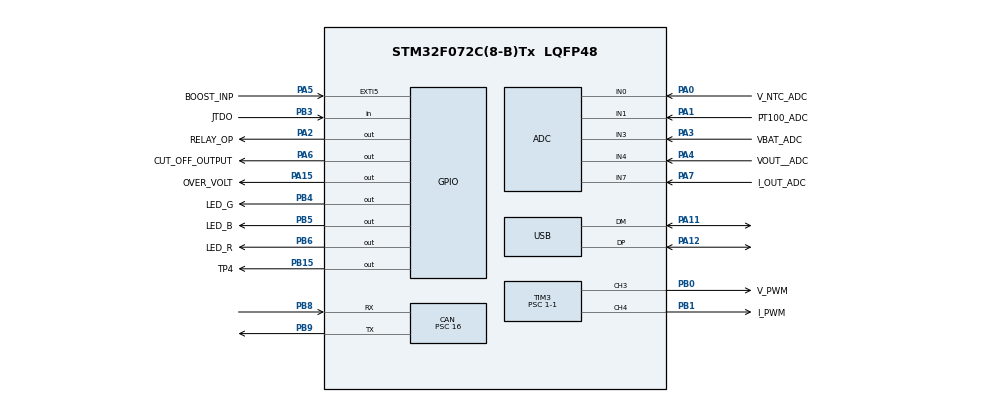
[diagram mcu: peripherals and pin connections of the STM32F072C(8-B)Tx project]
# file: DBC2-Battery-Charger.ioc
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ADC.ContinuousConvMode=ENABLE
ADC.DMAContinuousRequests=ENABLE
ADC.EOCSelection=ADC_EOC_SEQ_CONV
ADC.Overrun=ADC_OVR_DATA_OVERWRITTEN
ADC.SamplingTime=ADC_SAMPLETIME_71CYCLES_5
CAN.BS1=CAN_BS1_3TQ
CAN.BS2=CAN_BS2_4TQ
CAN.CalculateBaudRate=375000
CAN.CalculateTimeBit=2666
CAN.CalculateTimeQuantum=333.3333333333333
CAN.Prescaler=16
Dma.ADC.0.Direction=DMA_PERIPH_TO_MEMORY
Dma.ADC.0.Instance=DMA1_Channel1
Dma.ADC.0.MemDataAlignment=DMA_MDATAALIGN_HALFWORD
Dma.ADC.0.MemInc=DMA_MINC_ENABLE
Dma.ADC.0.Mode=DMA_CIRCULAR
Dma.ADC.0.PeriphDataAlignment=DMA_PDATAALIGN_HALFWORD
Dma.ADC.0.PeriphInc=DMA_PINC_DISABLE
Dma.ADC.0.Priority=DMA_PRIORITY_MEDIUM
Dma.Request0=ADC
Mcu.Family=STM32F0
Mcu.Name=STM32F072C(8-B)Tx
Mcu.Package=LQFP48
NVIC.CEC_CAN_IRQn=true\:0\:0\:false\:false\:true\:true\:true\:true
NVIC.DMA1_Channel1_IRQn=true\:2\:0\:true\:false\:true\:false\:true\:true
NVIC.EXTI4_15_IRQn=true\:1\:0\:true\:false\:true\:true\:true\:true
NVIC.TIM14_IRQn=true\:1\:0\:true\:false\:true\:true\:true\:true
NVIC.USB_IRQn=true\:0\:0\:true\:false\:true\:false\:true\:true
PA0.GPIO_Label=V_NTC_ADC
PA0.Mode=IN0
PA0.Signal=ADC_IN0
PA1.GPIO_Label=PT100_ADC
PA1.Mode=IN1
PA1.Signal=ADC_IN1
PA11.Mode=Device
PA11.Signal=USB_DM
PA12.Mode=Device
PA12.Signal=USB_DP
PA13.Mode=Serial_Wire
PA13.Signal=SYS_SWDIO
PA14.Mode=Serial_Wire
PA14.Signal=SYS_SWCLK
PA15.GPIO_Label=OVER_VOLT
PA15.Signal=GPIO_Output
PA2.GPIO_Label=RELAY_OP
PA2.Signal=GPIO_Output
PA3.GPIO_Label=VBAT_ADC
PA3.Mode=IN3
PA3.Signal=ADC_IN3
PA4.GPIO_Label=VOUT__ADC
PA4.Mode=IN4
PA4.Signal=ADC_IN4
PA5.GPIO_Label=BOOST_INP
PA5.Signal=GPXTI5
PA6.GPIO_Label=CUT_OFF_OUTPUT
PA6.Signal=GPIO_Output
PA7.GPIO_Label=I_OUT_ADC
PA7.Mode=IN7
PA7.Signal=ADC_IN7
PB0.GPIO_Label=V_PWM
PB0.Signal=S_TIM3_CH3
PB1.GPIO_Label=I_PWM
PB1.Signal=S_TIM3_CH4
PB15.GPIO_Label=TP4
PB15.Signal=GPIO_Output
PB3.GPIO_Label=JTDO
PB3.Signal=GPIO_Input
PB4.GPIO_Label=LED_G
PB4.Signal=GPIO_Output
PB5.GPIO_Label=LED_B
PB5.Signal=GPIO_Output
PB6.GPIO_Label=LED_R
PB6.Signal=GPIO_Output
PB8.Mode=CAN_Activate
PB8.Signal=CAN_RX
PB9.Mode=CAN_Activate
PB9.Signal=CAN_TX
ProjectManager.HeapSize=0x200
ProjectManager.StackSize=0x400
ProjectManager.TargetToolchain=STM32CubeIDE
RCC.AHBFreq_Value=48000000
RCC.APB1Freq_Value=48000000
RCC.APB1TimFreq_Value=48000000
RCC.HCLKFreq_Value=48000000
RCC.SYSCLKFreq_VALUE=48000000
RCC.SYSCLKSource=RCC_SYSCLKSOURCE_HSI48
SH.S_TIM3_CH3.0=TIM3_CH3,PWM Generation3 CH3
SH.S_TIM3_CH4.0=TIM3_CH4,PWM Generation4 CH4
TIM1.Period=0
TIM14.AutoReloadPreload=TIM_AUTORELOAD_PRELOAD_DISABLE
TIM14.Period=1000
TIM2.Period=0
TIM3.Channel-PWM\ Generation3\ CH3=TIM_CHANNEL_3
TIM3.Channel-PWM\ Generation4\ CH4=TIM_CHANNEL_4
TIM3.Period=1-1
TIM3.Prescaler=1-1
USB_DEVICE.CLASS_NAME_FS=CDC
USB_DEVICE.MANUFACTURER_STRING=EN-KO Control Systems
USB_DEVICE.VirtualMode=Cdc
USB_DEVICE.VirtualModeFS=Cdc_FS
VP_ADC_TempSens_Input.Mode=IN-TempSens
VP_IWDG_VS_IWDG.Mode=IWDG_Activate
VP_TIM14_VS_ClockSourceINT.Mode=Enable_Timer
VP_TIM1_VS_ClockSourceINT.Mode=Internal
VP_TIM2_VS_ClockSourceINT.Mode=Internal
VP_USB_DEVICE_VS_USB_DEVICE_CDC_FS.Mode=CDC_FS
board=custom

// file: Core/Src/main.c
/* USER CODE BEGIN Header */
/**
  ******************************************************************************
  * @file           : main.c
  * @brief          : Main program body
  ******************************************************************************
  * @attention
  * DBC2 Battery Charger Project Developed by ENKO Control Systems
  ******************************************************************************
  */
/* USER CODE END Header */
#include "main.h"
#include "adc.h"
#include "can.h"
#include "dma.h"
#include "iwdg.h"
#include "tim.h"
#include "usb_device.h"
#include "gpio.h"

/* USER CODE BEGIN Includes */
#include "usbd_cdc_if.h"
#include "Controller.h"
#include "stm32f0xx_hal.h"

#include "ModbusServerSerial/msserial.h"
#include "ModbusClientSerial/mcserial.h"
#include "ModbusPDU/modbus_pdu.h"
#include "modbus_adapter_dma.h"
#include "modbus_adapter_usb.h"
#include "modbus_adapter_pdu.h"
#include "parameters_setget.h"
#include "parameter_callback.h"
#include "dynamic_pass_adapter.h"
/* USER CODE END Includes */

/* USER CODE BEGIN PD */
//bootloader defines
#define USER_PROG_BASLANGIC_ADR 0x08004800
#define SYSCFG_MemoryRemap_SRAM ((uint8_t)0x03)
//#define  RCC_APB2ENR_SYSCFGEN   ((uint32_t)0x00000001)        /*!< SYSCFG clock enable */
#define RCC_APB2Periph_SYSCFG   RCC_APB2ENR_SYSCFGEN
//DMA conv complete buffer size
#define DMA_BUFFER_SIZE         6
/* USER CODE END PD */

/* USER CODE BEGIN PV */

__attribute__((section(".SIGNATURESECTION.SGN"))) volatile const uint8_t signature[4] ={'E','N','K','O'};
__attribute__((section(".My_Vector_Table_Section.table")))  uint32_t VectorTable[50];
//volatile uint32_t *VectorTable = (uint32_t *)0x20000000; // Carve space here via linker script, or attributes

MEASURED_t MEASURED;
extern int16_t data[PARAM_MAX_COUNT];

volatile int64_t tick = 0, tempTick = 0;

ModbusServerSerial_t MbServerUsbObj;
ModbusPDU_t MbServerUsbObj_PDU;

uint32_t ledToggleCount = 0, ledOffset = 0, ledOffset_2 = 0;

uint8_t  boostLock = 0, pt100Flag = 0;
GPIO_PinState boostPinState = GPIO_PIN_SET;
uint32_t boostPinCounter = 0;

int16_t INTC_CAL1 = 0, INTC_CAL2  = 0;
int16_t PT100Comp = 0;
int16_t CalibINTC = 0;

volatile uint16_t ADC_Buffer[6] = {0, 0, 0, 0, 0, 0};
volatile uint16_t DMA_Buffer[DMA_BUFFER_SIZE];

extern ControllerParam_t outputReferences;

ALG_STATES mode = S_PSU;

uint8_t tagCount = 0;

extern USBD_HandleTypeDef hUsbDeviceFS;
/* USER CODE END PV */

void SystemClock_Config(void);
/* USER CODE BEGIN PFP */

void sysTickCallback(void);
HAL_StatusTypeDef Flash_writeReferencesToFlash(void);
HAL_StatusTypeDef Flash_readReferencesFromFlash(void);
void setDeviceParams(void);
/* USER CODE END PFP */

int main(void)
{
  /* USER CODE BEGIN 1 */
	// Vektor tablosu tasıma
  for(uint8_t i = 0; i < 48; i++){
		VectorTable[i] = *(__IO uint32_t*)(USER_PROG_BASLANGIC_ADR + (i<<2));
	}
	// Enable the SYSCFG peripheral clock//
	RCC_APB2PeriphResetCmd(RCC_APB2Periph_SYSCFG, ENABLE);
	// Remap SRAM at 0x00000000 //
	SYSCFG_MemoryRemapConfig(SYSCFG_MemoryRemap_SRAM);
	if(signature[0]==1)  // optimize etmemesi için eklendi.
	__NOP();
  /* USER CODE END 1 */

  /* MCU Configuration--------------------------------------------------------*/

  /* Reset of all peripherals, Initializes the Flash interface and the Systick. */
  HAL_Init();

  /* Configure the system clock */
  SystemClock_Config();

  /* Initialize all configured peripherals */
  MX_GPIO_Init();
  MX_DMA_Init();
  MX_ADC_Init();
  MX_USB_DEVICE_Init();
  MX_TIM14_Init();
  MX_CAN_Init();
//  MX_TIM1_Init();
//  MX_TIM2_Init();
  MX_TIM3_Init();
  MX_IWDG_Init();
  /* USER CODE BEGIN 2 */
//  HAL_GPIO_WritePin(CUT_OFF_OUTPUT_GPIO_Port, CUT_OFF_OUTPUT_Pin, GPIO_PIN_RESET);
//  HAL_GPIO_WritePin(LED_R_GPIO_Port,LED_R_Pin, GPIO_PIN_RESET);
//  while(1);

  #ifdef DBC_2_150W
  MX_TIM3_Init();
  #endif
#ifdef DBC_2_150W_2
MX_TIM3_Init();
#endif
  #ifdef DBC_2_300W
  MX_TIM1_Init();
  MX_TIM2_Init();
  #endif

  #ifndef DEBUG_MODE_OPTIONS
  FLASH_OBProgramInitTypeDef OBInit;
  // Get current status of the OB
  HAL_FLASHEx_OBGetConfig(&OBInit);
  //If it is not LEVEL 1 protected, set it. Else just ignore.
  if(OBInit.RDPLevel != OB_RDP_LEVEL_1){
    //Unlock OB
    HAL_FLASH_Unlock();
    HAL_FLASH_OB_Unlock();
    // Set Protection Level 1. This Level means no read operation but OB can be change in exchange of mass erase.
    // LEVEL 2 means no change on OB
    OBInit.OptionType = OPTIONBYTE_RDP;
    OBInit.RDPLevel = OB_RDP_LEVEL_1;
    // Change OB
    HAL_FLASHEx_OBProgram(&OBInit);
    // Launch means restart MCU
    HAL_FLASH_OB_Launch();
  }
  //Lock OB
  HAL_FLASH_OB_Lock();
  HAL_FLASH_Lock();
  #endif
	//Start ADC and DMA peripherals
	HAL_ADCEx_Calibration_Start(&hadc);
	HAL_ADC_Start_DMA(&hadc, (uint32_t*)DMA_Buffer, DMA_BUFFER_SIZE);

  	// USB uzerinden MultiWrite fonksiyonu maksimum 27register icin gerceklesebilir.
	// USB Composite kurulumu yapilmaktadir. USB-CDC ve USB-MSC
	ModbusAdapterUsbInit();
	modbusServerSerialSoftInit(&MbServerUsbObj, &MbServerUsbObj_PDU);
	modbusServerSerialLLInit(&MbServerUsbObj, ModbusAdapterTransmitterUsb,
			ModbusAdapterReceiverUsb, ModbusAdapterReceiverStopUsb, isModbusAdapterTransmitUSBDone);
	ModbusPDUInit(&MbServerUsbObj_PDU, ModbusPDUAdapterWrite, ModbusPDUAdapterRead, ModbusPDUAdressCheck);
	setModbusServerSerialSlaveAddress(&MbServerUsbObj, 1);
	setModbusServerSerialControlInterval(&MbServerUsbObj, 1 * 2);
	setModbusServerSerialWait(&MbServerUsbObj, 10);

	//Init dynamic password
	setDynamicPasswordSetup(getDynamicPasswordObj());

	//load default parameters from ROM. Used till Flash read
	for(uint16_t i = 1; i < PARAM_MAX_COUNT; i++){
		data[i - 1] = getParamDefViaPN(i);
	}
	//Read from Flash and decide to use fixed PWM or controller
//	Flash_writeReferencesToFlash();
    Flash_readReferencesFromFlash();
    outputReferences.REFCurrent = getParamDataViaPN(OUTPUT_CURRENT);
	if(getParamDataViaPN(PWMFLAG) == 0){
	  setCurrentPWMtoRef(&outputReferences);
	  setVoltagePWMtoRef(&outputReferences);
	}else if(getParamDataViaPN(PWMFLAG) == 1){
	Voltage_PWM = getParamDataViaPN(VOUTPWM);
    updateVPWMLimits();
	Current_PWM = getParamDataViaPN(IOUTPWM);
    updateIPWMLimits();
	}

	setParamDataViaPN(DEVICE_SOFTWARE_VER, 1090, CALLBACK_OFF);

  // Set ENKO Constant MB params for this device
  setDeviceParams();
#ifdef DBC_2_90W
  //Start TIM3 and PWM outputs according to references above
  TIM3->ARR  = 959;
  TIM3->PSC  = 0;
  HAL_TIM_PWM_Start(&htim3, I_PWM_CH); //I_PWM
  HAL_TIM_PWM_Start(&htim3, V_PWM_CH); //V_PWM
#endif
#ifdef DBC_2_150W
	//Start TIM3 and PWM outputs according to references above
	TIM3->ARR  = 959;
	TIM3->PSC  = 0;
	HAL_TIM_PWM_Start(&htim3, I_PWM_CH); //I_PWM
	HAL_TIM_PWM_Start(&htim3, V_PWM_CH); //V_PWM
#endif
#ifdef DBC_2_150W_2
  //Start TIM3 and PWM outputs according to references above
  TIM3->ARR  = 959;
  TIM3->PSC  = 0;
  HAL_TIM_PWM_Start(&htim3, I_PWM_CH); //I_PWM
  HAL_TIM_PWM_Start(&htim3, V_PWM_CH); //V_PWM
#endif
#ifdef DBC_2_300W
	TIM2->ARR  = 959;
	TIM2->PSC  = 0;
	HAL_TIM_PWM_Start(&htim2, I_PWM_CH); //I_PWM
	HAL_TIM_PWM_Start(&htim2, V_PWM_CH); //V_PWM
	HAL_TIM_PWM_Stop(&htim1, TIM_CHANNEL_3);
#endif

	//Start TIM14 interrupt to control LEDs
	TIM14->ARR = 59999;
	TIM14->PSC = 7;
	HAL_TIM_Base_Start_IT(&htim14);

	//ADC Calibration for internal NTC Temp
	INTC_CAL1 = *(int16_t*)0x1FFFF7B8;
	INTC_CAL2 = *(int16_t*)0x1FFFF7C2;
	//When I used int16_t instead of float for CalibINTC, flash size usage shrink 2KB!
	//https://www.st.com/resource/en/application_note/cd00211314-how-to-get-the-best-adc-accuracy-in-stm32-microcontrollers-stmicroelectronics.pdf
	CalibINTC = ((110.0 - 30.0) / (INTC_CAL2 - INTC_CAL1)) * 1024;

	//Toggle the LEDs to initial state
	setLedColor(Black, LED_CONS);
	setLedColor(Red, LED_CONS);
	controlLEDbyParam(GPIO_PIN_RESET);
	HAL_Delay(500);
	setLedColor(Blue, LED_CONS);
	controlLEDbyParam(GPIO_PIN_RESET);
	HAL_Delay(500);
	setLedColor(Green, LED_CONS);
	controlLEDbyParam(GPIO_PIN_RESET);
	HAL_Delay(500);

	//Init the flag variables
	outputReferences.settedREFVoltage = outputReferences.nonParallelREFVoltage = getParamDataViaPN(OUTPUT_VOLTAGE);
	boostPinState = HAL_GPIO_ReadPin(BOOST_INP_GPIO_Port, BOOST_INP_Pin);
    *getParamDataAdr(PARALLEL_CURRENT_COEFF) = getParamDefViaPN(PARALLEL_CURRENT_COEFF);//parallelCurrentCoefficient = 3;
    setParamDataViaPN(ERR_FLAG, 0, CALLBACK_OFF);
    setParamDataViaPN(WARN_FLAG, 0, CALLBACK_OFF);
  /* USER CODE END 2 */

  /* Infinite loop */
  /* USER CODE BEGIN WHILE */
    //Algorithm starts

    //Check device type and set for analog
    //if(MAX_VOLTAGE <= 1600)HAL_GPIO_WritePin(OVER_VOLT_GPIO_Port, OVER_VOLT_Pin, GPIO_PIN_SET);
    setParamDataViaPN(OUTPUT_MODEL, 0000, CALLBACK_ON);

    //check for open connections on ADC
    if(isADCOpen(MEASURED) == STAT_TRUE){
    	errorHandler(ADCOpen);
    }else{
    	errorHandler(ADCOpen_false);
    }

    //Open the output MOSFET
	setParamDataViaPN(OUTPUT_CUT_OFF, CONDUCTING, CALLBACK_ON);
uint64_t mbPrevTick = 0;
	while (1)
	{
		//if this loop becomes faster than 1ms, tick related things will be stuck because it can't be incremented before new loop starts
    /* USER CODE END WHILE */

    /* USER CODE BEGIN 3 */
	  //* Reload IWDG to not cause reset of the MCU
    #ifndef DEBUG_MODE_OPTIONS
	  __HAL_IWDG_RELOAD_COUNTER(&hiwdg);
    #endif

	//update monitor parameters on modbus
		*getParamDataAdr(MONITORING_VOLTAGE) = MEASURED.Vout;
		*getParamDataAdr(MONITORING_CURRENT) = MEASURED.Iout;
	//I thought updating *getParamDataAdr(OUTPUT_VOLTAGE AND CURRENT) in here, would update the scada values.
	//But this will also effect voltage update callback

		// Moved this line to CPT100 calculation for SCADA
		// *getParamDataAdr(MONITORING_PT100)   = MEASURED.RPT100;

		*getParamDataAdr(MONITORING_NTC)     = MEASURED.ntcC;
		*getParamDataAdr(MONITORING_VBAT)    = MEASURED.Vbat;
		*getParamDataAdr(MONITORING_INTC) 	 = MEASURED.INTC;

		//To monitor actual pwm values over SCADA
		if(getParamDataViaPN(PWMFLAG) == 0){
			*getParamDataAdr(VOUTPWM) =  outputReferences.dbgVPWM = Voltage_PWM;
			*getParamDataAdr(IOUTPWM) =  outputReferences.dbgIPWM = Current_PWM;
		}

		//To monitor algorithm states over SCADA
		setParamDataViaPN(DEBUG_MODE, getParamDataViaPN(OUTPUT_CHARGE_MODE), CALLBACK_OFF);

    	//modbus function to respond calls from usb
		if(tick != mbPrevTick){
			mbPrevTick = tick;
			modbusServerSerialRun(&MbServerUsbObj);
		}

		//Control the LEDs
		if(getParamDataViaPN(LED_CONSTANT) == 0){
			if(HAL_GetTick() > ledOffset ){
				ledOffset = HAL_GetTick() + getParamDataViaPN(LED_FLASH_TIME);
				if(ledOffset < HAL_GetTick() ){
					ledOffset = getParamDataViaPN(LED_FLASH_TIME);
				}
				ledToggleCount = 0;
				controlLEDbyParam(GPIO_PIN_SET);
			}else{
				if(HAL_GetTick() > ledOffset_2){
					ledOffset_2 = HAL_GetTick() + 128;
					if(ledOffset_2 < HAL_GetTick()) ledOffset_2 = 128;
					if(ledToggleCount < getParamDataViaPN(LED_BLINK) * 2){
						ledToggleCount++;
						controlLEDbyParam(3);
					}else{
						controlLEDbyParam(GPIO_PIN_SET);
				  }
				}
			}
		}else{
			controlLEDbyParam(GPIO_PIN_RESET);
		}

	    //check for reverse polarity
	    if(isOutputReverse(MEASURED) == STAT_TRUE){
			errorHandler(outputReverse);
		}else{
			errorHandler(outputReverse_false);
		}

	    //Temperature controls
		if(tempTick != tick && tick % 65535 == 0){
			tempTick = tick;

			if(getParamDataViaPN(DEBUG_DERATE) == 1) powerDerator(MEASURED);

			//check for mode
			if(mode != S_CHARGER) continue;

			//check for pt100 status if it is activated and connected
			if(isPT100Connected(MEASURED) != STAT_TRUE){
				//! alt satır neden var?!?!?!
				//PT100 Charging() set edilen voltajı değiştiriyor
				//setParamDataViaPN(OUTPUT_VOLTAGE, outputReferences.settedREFVoltage, CALLBACK_ON);
				if(getParamDataViaPN(TEMP_PT100_ACT) != 1) continue;
				errorHandler(PT100Connection);
				continue;
			}
			//Activate PT100
			setParamDataViaPN(TEMP_PT100_ACT, 1, CALLBACK_OFF);
			errorHandler(PT100Connection_false);

			//Calculate Temp for PT100
			int16_t CPT100 = MEASURED.RPT100 * 0.0258 - 258;
			*getParamDataAdr(MONITORING_PT100)   = CPT100;

			//if dvdc set
			//modify reference voltage accordingly
			//If battery temp drops below 25C then output should be increased
			//but if it gets hotter we should drop the output voltage
			//so CPT100 - 25 produces negative coef if batt is cold and gets multiplied with DVDT and multiplied with "-"
			//setParamDataViaPN(OUTPUT_VOLTAGE, outputReferences.settedREFVoltage + (getParamDataViaPN(TEMP_PT100_DVDT) * (CPT100 - 25)), CALLBACK_OFF);
			PT100Comp = getParamDataViaPN(TEMP_PT100_DVDT) * (CPT100 - 25);
			pt100Flag = 1;

			//Check for power derate
			if(CPT100 < getParamDataViaPN(TEMP_DERATE_PT100)){
				errorHandler(overTempPT100_false);
				continue;
			}

			//Warning
			errorHandler(overTempPT100);

			//if there is error
			if(CPT100 > getParamDataViaPN(TEMP_PT100_MAX)){
				errorHandler(overTempPT100);
			}
		}

		//Check for over voltage situation
		if(isOverVoltage(MEASURED) == STAT_TRUE){
			errorHandler(overVoltageError);
		}else{
			errorHandler(overVoltageError_false);
		}

//		//over current can happen on current limit so no blocking
//		if(isOverCurrent(MEASURED) == STAT_TRUE){
//			setParamDataViaPN(LED_CONSTANT, 0, CALLBACK_OFF);
//			errorHandler(overCurrentWarn);
//		}
//		errorHandler(overCurrentWarn_false);

		//output control mode
		if(getParamDataViaPN(OUTPUT_MODE_PSU) == 1){
			mode = S_PSU;
		}else{
			mode=S_CHARGER;
		}
		switch(mode){
		//These are the device modes that  determines if device is battery charging or power supply
		case S_PSU:{
		//power supply mode
		//in this mode, Vout and Iout is directly controlled by params
			if(getParamDataViaPN(OUTPUT_VOLTAGE) >= 1800){
				setLedColor(Cyan, LED_CONS);
			}else if(getParamDataViaPN(OUTPUT_VOLTAGE) <= 1600){
				setLedColor(Green, LED_CONS);
			}else{
				setLedColor(Purple, LED_CONS);
			}
			if(getRelayState() != RELAY_CONDUCTING) setRelayOutput(RELAY_CONDUCTING);
			break;
}
		case S_CHARGER:{
		//charger mode with stated output voltages.
		//it does auto boost, auto detect, ...
			*getParamDataAdr(OUTPUT_CURRENT) = outputReferences.REFCurrent;
			if(getRelayState() != RELAY_CONDUCTING) setRelayOutput(RELAY_CONDUCTING);

			if(getParamDataViaPN(OUTPUT_MODE_AUTO) == 1){
				//Check for connected battery voltage
				//if it is out of range, we can't auto detect
				if(MEASURED.Vout >= 1800){
					setParamDataViaPN(OUTPUT_VOLTAGE, 2760, CALLBACK_ON);
					setParamDataViaPN(OUTPUT_BOOST_VOLTAGE, 2800, CALLBACK_ON);
					setParamDataViaPN(OUTPUT_MODE_AUTO, 0, CALLBACK_OFF);
					if(MEASURED.Vout >= 1800){
						errorHandler(wrongBattWarn_false);
						continue;
					}
				}else if(MEASURED.Vout <= 1600){
					setParamDataViaPN(OUTPUT_VOLTAGE, 1380, CALLBACK_ON);
					setParamDataViaPN(OUTPUT_BOOST_VOLTAGE, 1450, CALLBACK_ON);
					setParamDataViaPN(OUTPUT_MODE_AUTO, 0, CALLBACK_OFF);
					if(MEASURED.Vout <= 1600){
						errorHandler(wrongBattWarn_false);
						continue;
					}
				}
				//If auto mode can't detect batt type
				setParamDataViaPN(OUTPUT_VOLTAGE, 1200, CALLBACK_ON);
				setParamDataViaPN(OUTPUT_BOOST_VOLTAGE, 1450, CALLBACK_ON);
				setParamDataViaPN(OUTPUT_MODE_AUTO, 0, CALLBACK_OFF);
				errorHandler(wrongBattWarn);
			}else if(getParamDataViaPN(OUTPUT_MODE_AUTO) == 0){

				//Check for parameter voltage, it should be deterministic
				if(*getParamDataAdr(OUTPUT_VOLTAGE) >= 1800){
					setLedColor(Cyan, LED_CONS);
					if(MEASURED.Vout >= 1800){
						errorHandler(wrongBattWarn_false);
						continue;
					}
				}else if(*getParamDataAdr(OUTPUT_VOLTAGE) <= 1600 && *getParamDataAdr(OUTPUT_VOLTAGE) >= 1201){
					setLedColor(Green, LED_CONS);
					if(MEASURED.Vout <= 1600){
						errorHandler(wrongBattWarn_false);
						continue;
					}
				}else{
					setLedColor(Purple, LED_NCONS);
					errorHandler(wrongBattWarn);
				}
			}
			break;
		}
		default:{
		//there must be memory error or debug going on
			setLedColor(Yellow, LED_CONS);
			//setParamDataViaPN(LED_CONSTANT, 0, CALLBACK_OFF);
			setParamDataViaPN(LED_BLINK, 2, CALLBACK_OFF);
			setParamDataViaPN(LED_FLASH_TIME, 1024, CALLBACK_OFF);
			break;
		}
		}
		//This function should be called every minutes or so
		//It does timing and measuring battery
		if(tick % 65535 == 0){
			if(mode == S_CHARGER) Charging(MEASURED, boostLock, PT100Comp);
		}
  }
  /* USER CODE END 3 */
}

void SystemClock_Config(void)
{
  LL_FLASH_SetLatency(LL_FLASH_LATENCY_1);
  while(LL_FLASH_GetLatency() != LL_FLASH_LATENCY_1)
  {
  }
  LL_RCC_HSI14_Enable();

   /* Wait till HSI14 is ready */
  while(LL_RCC_HSI14_IsReady() != 1)
  {

  }
  LL_RCC_HSI14_SetCalibTrimming(16);
  LL_RCC_HSI48_Enable();

   /* Wait till HSI48 is ready */
  while(LL_RCC_HSI48_IsReady() != 1)
  {

  }
  LL_RCC_LSI_Enable();

   /* Wait till LSI is ready */
  while(LL_RCC_LSI_IsReady() != 1)
  {

  }
  LL_RCC_SetAHBPrescaler(LL_RCC_SYSCLK_DIV_1);
  LL_RCC_SetAPB1Prescaler(LL_RCC_APB1_DIV_1);
  LL_RCC_SetSysClkSource(LL_RCC_SYS_CLKSOURCE_HSI48);

   /* Wait till System clock is ready */
  while(LL_RCC_GetSysClkSource() != LL_RCC_SYS_CLKSOURCE_STATUS_HSI48)
  {

  }
  LL_SetSystemCoreClock(48000000);

   /* Update the time base */
  if (HAL_InitTick (TICK_INT_PRIORITY) != HAL_OK)
  {
    Error_Handler();
  }
  LL_RCC_HSI14_EnableADCControl();
  LL_RCC_SetUSBClockSource(LL_RCC_USB_CLKSOURCE_HSI48);
}

/* USER CODE BEGIN 4 */

/**
 * @brief function to call periodically inside hal tick it computes and calculates periodic jobs
 *
 */
void sysTickCallback(void){

  //Time base for whole main function
	tick++;

	if(tick % 128 == 0){ //If changed OVER_VOLTAGE_COUNT should be updated to

		//Calculate the readed values in human readable form
		MEASURED.ntcC   = getParamDataViaPN(MEASURE_CALIB_NTC)   * (150 - (ADC_Buffer[0] >> 5)) >> 10;
		MEASURED.RPT100 = getParamDataViaPN(MEASURE_CALIB_PT100) * ((ADC_Buffer[1] * 819 >> 8)  + 7487) >> 10;//* 3.2 + 7487);
		MEASURED.Vbat   = getParamDataViaPN(MEASURE_CALIB_VBAT)  * (ADC_Buffer[2] * 500  >> 8 ) >> 10;
		MEASURED.Vout   = getParamDataViaPN(MEASURE_CALIB_VOUT)  * (ADC_Buffer[3] * 1815 >> 11) >> 10;
		MEASURED.Iout   = getParamDataViaPN(MEASURE_CALIB_IOUT)  * (ADC_Buffer[4] * MEASURE_CURRENT_MUL >> MEASURE_CURRENT_SH) >> 10;
		MEASURED.INTC   = ((CalibINTC * (ADC_Buffer[5] - INTC_CAL1)) / 1024) + 30;

		if(getParamDataViaPN(PARALLEL_WORKING) == 1){
			*getParamDataAdr(OUTPUT_VOLTAGE) = outputReferences.nonParallelREFVoltage - ( MEASURED.Iout / 128 * getParamDataViaPN(PARALLEL_CURRENT_COEFF) );//parallelWorking(MEASURED);
		}//else nonparallelvoltage = output_voltage

		//if(pt100Flag == 1 && getParamDataViaPN(TEMP_PT100_ACT) == 0) output_voltage = outputReferences.setted;

		if(getParamDataViaPN(PWMFLAG) == 0) outputController(MEASURED);

	}
}

/**
 * @brief callback for gpio perip. It's been used for Boost input pin
 *
 * @param GPIO_Pin
 */
void HAL_GPIO_EXTI_Callback(uint16_t GPIO_Pin){

	if(GPIO_Pin == BOOST_INP_Pin){

	}
}

/**
 * @brief Callback function for DMA peripheral. It sums up all DMA values to be divided in the systickcallback.
 * Data comes from here can't be used without division.
 *
 * @param hadc handle for adc peripheral
 */
void HAL_ADC_ConvCpltCallback(ADC_HandleTypeDef *hadc) {
  static uint64_t dma_prev_tick;
	if(tick % 8 == 0 && tick != dma_prev_tick){
		dma_prev_tick = tick;
		ADC_Buffer[0] = (DMA_Buffer[DMA_IND_0] + ADC_Buffer[0]) / 2;
		ADC_Buffer[1] = (DMA_Buffer[DMA_IND_1] + ADC_Buffer[1]) / 2;
		ADC_Buffer[2] = (DMA_Buffer[DMA_IND_2] + ADC_Buffer[2]) / 2;
		ADC_Buffer[3] = (DMA_Buffer[DMA_IND_3] + ADC_Buffer[3]) / 2;
		ADC_Buffer[4] = (DMA_Buffer[DMA_IND_4] + ADC_Buffer[4]) / 2;
		ADC_Buffer[5] = (DMA_Buffer[DMA_IND_5] + ADC_Buffer[5]) / 2;
  }
}

/**
 * @brief checks for data values on param list against modbus min max values
 */
void Default_isoutputReferencesDefault(){
	for(uint16_t i = 1; i < PARAM_LAST_INDEX; i++){
		if(data[i - 1] < getParamMinViaPN(i) || data[i - 1] > getParamMaxViaPN(i)) data[i - 1] = getParamDefViaPN(i);
	}
}
int16_t wtf[TAG_SIZE];
/**
 * @brief  this func reads control reference values from flash
 * @return HAL_StatusTypeDef
 */
HAL_StatusTypeDef Flash_readReferencesFromFlash(void){

	  //if it is initial loading of the program
	  if(FLASH_POINTER_1 == 0xFFFFFFFF){
	  //Load Default Vector Table
	  Flash_writeWordtoAddr((uint32_t)(&FLASH_POINTER_16 + 4), (uint32_t)&FLASH_POINTER_1);
	  Flash_writeWordtoAddr((uint32_t)(0x0800FFC0), 		   (uint32_t)&FLASH_POINTER_2);
	  Flash_writeWordtoAddr((uint32_t)(&FLASH_POINTER_16 + 4), (uint32_t)&FLASH_POINTER_3);
	  Flash_writeWordtoAddr((uint32_t)(&FLASH_POINTER_16 + 4), (uint32_t)&FLASH_POINTER_4);
	}
	  HAL_StatusTypeDef stat;

	  //read the list
	  stat = Flash_readDataChunkFromAddr(data, FLASH_POINTER_1 , (sizeof data));
	  if(stat != HAL_OK) return stat;

	  stat = Flash_readDataChunkFromAddr(wtf, FLASH_POINTER_2 , (sizeof wtf));
	  if(stat != HAL_OK) return stat;

	  //compare for defaults
	  Default_isoutputReferencesDefault();

	  //load to struct that is used inside code
	  outputReferences.REFCurrent = getParamDataViaPN(OUTPUT_CURRENT);
	  outputReferences.dbgVPWM = getParamDataViaPN(VOUTPWM);
	  outputReferences.dbgIPWM = getParamDataViaPN(IOUTPWM);
	  outputReferences.boostVoltage = getParamDataViaPN(OUTPUT_BOOST_VOLTAGE);
//	  outputReferences.nonParallelREFVoltage = getParamDataViaPN(OUTPUT_VOLTAGE);
	  return HAL_OK;
}

/**
 * @brief erases the control page and writes controller reference values to flash
 *
 * @return HAL_StatusTypeDef
 */
HAL_StatusTypeDef Flash_writeReferencesToFlash(void){

	//Hiç bir zaman readden önce write yapılmaması ön koşuluyla şu yapılabilir
	//read işlemi en baştaki 20 adresin içinde yer alan adreslerden ram'a verileri alacak
	//işlemesi gereken her şeyi işleyecek ve datanın son hali her zaman ramda olacak
	//write yapılması gerektiğinde flash baştan ram'a göre doldurulacak ve en baştaki adresler buna göre güncellenecek

	HAL_StatusTypeDef stat;
	uint32_t* tmpPointer = 0;

	stat = Flash_readWordChunkFromAddr(tmpPointer, 0x0800F800, 16);
	if(stat != HAL_OK) return stat;

	stat = Flash_ErasePageWithNumber(31);
	if(stat != HAL_OK) return stat;

	stat = Flash_writeWordChunktoAddr(tmpPointer, 0x0800F800, 16);
	if(stat != HAL_OK) return stat;

	stat = Flash_writeWordChunktoAddr((uint32_t*)data, FLASH_POINTER_1, (sizeof data) / 2);
	if(stat != HAL_OK) return stat;

	stat = Flash_writeWordChunktoAddr((uint32_t*)wtf, FLASH_POINTER_2, (sizeof wtf) / 2);
	if(stat != HAL_OK) return stat;

	return HAL_OK;
}

void setDeviceParams(void){
  setParamDataViaPN(DEVICE_CUSTOMER_NUMBER1, 0, CALLBACK_OFF);
  setParamDataViaPN(DEVICE_CUSTOMER_NUMBER2, 0, CALLBACK_OFF);
  setParamDataViaPN(DEVICE_CUSTOMER_NUMBER3, 0, CALLBACK_OFF);
  setParamDataViaPN(DEVICE_CUSTOMER_NUMBER4, 0, CALLBACK_OFF);
  setParamDataViaPN(DEVICE_CUSTOMER_NUMBER5, 0, CALLBACK_OFF);
  setParamDataViaPN(DEVICE_CUSTOMER_TEXT1, 0, CALLBACK_OFF);
  setParamDataViaPN(DEVICE_CUSTOMER_TEXT2, 0, CALLBACK_OFF);
  setParamDataViaPN(DEVICE_CUSTOMER_TEXT3, 0, CALLBACK_OFF);
  setParamDataViaPN(DEVICE_CUSTOMER_TEXT4, 0, CALLBACK_OFF);
  setParamDataViaPN(DEVICE_CUSTOMER_TEXT5, 0, CALLBACK_OFF);
  setParamDataViaPN(DEVICE_CUSTOMER_TEXT6, 0, CALLBACK_OFF);
  setParamDataViaPN(DEVICE_CUSTOMER_TEXT7, 0, CALLBACK_OFF);
  setParamDataViaPN(DEVICE_CUSTOMER_TEXT8, 0, CALLBACK_OFF);
  setParamDataViaPN(DEVICE_CUSTOMER_TEXT9, 0, CALLBACK_OFF);
  setParamDataViaPN(DEVICE_CUSTOMER_TEXT10, 0, CALLBACK_OFF);
  setParamDataViaPN(DEVICE_TOTAL_PARAMS_COUNT, PARAM_USERS_LAST_INDEX, CALLBACK_OFF);
  setParamDataViaPN(DEVICE_DEF_VALS_START_ADR, 0, CALLBACK_OFF);
  setParamDataViaPN(DEVICE_MAX_VALS_START_ADR, 0, CALLBACK_OFF);
  setParamDataViaPN(DEVICE_MIN_VALS_START_ADR, 0, CALLBACK_OFF);
  setParamDataViaPN(DEVICE_COEF_VALS_START_ADR, 0, CALLBACK_OFF);
  setParamDataViaPN(DEVICE_DYNPASS_USERCODE, 0, CALLBACK_OFF);
  setParamDataViaPN(DEVICE_DYNPASS_SERVICECODE, 0, CALLBACK_OFF);
  setParamDataViaPN(DEVICE_DYNPASS_FACTORYCODE, 0, CALLBACK_OFF);
  setParamDataViaPN(DEVICE_DYNPASS_ENKOCODE, 0, CALLBACK_OFF);
  setParamDataViaPN(DEVICE_DYNPASS_USERPASS, 0, CALLBACK_OFF);
  setParamDataViaPN(DEVICE_DYNPASS_SERVICEPASS, 0, CALLBACK_OFF);
  setParamDataViaPN(DEVICE_DYNPASS_FACTORYPASS, 0, CALLBACK_OFF);
  setParamDataViaPN(DEVICE_DYNPASS_ENKOPASS, 0, CALLBACK_OFF);
  setParamDataViaPN(DEVICE_USER_PASSWORD, 0, CALLBACK_OFF);
  setParamDataViaPN(DEVICE_SERVICE_PASSWORD, 0, CALLBACK_OFF);
  setParamDataViaPN(DEVICE_FACTORY_PASSWORD, 0, CALLBACK_OFF);
  setParamDataViaPN(DEVICE_ENKO_PASSWORD, 0, CALLBACK_OFF);
  setParamDataViaPN(LOGIN_PASSWORD_ENTRY_CUSTOMER_REG1, 0, CALLBACK_OFF);
  setParamDataViaPN(LOGIN_PASSWORD_ENTRY_CUSTOMER_REG2, 0, CALLBACK_OFF);
  setParamDataViaPN(LOGIN_SECURITY_CUSTOMER_REG1, 0, CALLBACK_OFF);
  setParamDataViaPN(LOGIN_SECURITY_CUSTOMER_REG2, 0, CALLBACK_OFF);
  setParamDataViaPN(LOGIN_PASSWORD_ENTRY_ENKO_REG1, 0, CALLBACK_OFF);
  setParamDataViaPN(LOGIN_PASSWORD_ENTRY_ENKO_REG2, 0, CALLBACK_OFF);
  setParamDataViaPN(LOGIN_SECURITY_ENKO_REG1, 0, CALLBACK_OFF);
  setParamDataViaPN(LOGIN_SECURITY_ENKO_REG2, 0, CALLBACK_OFF);
  setParamDataViaPN(DEVICE_OPTIONAL_MODULE, 0, CALLBACK_OFF);
  // Attention the right-left alignment on flash mem: TAG[1] is actually first two bytes of the TAG
  const uint16_t* TAG = (uint16_t*)USER_PROG_TAG_ADR;
  setParamDataViaPN(DEVICE_HARDWARE_VER_REG1, (uint16_t)TAG[1], CALLBACK_OFF);
  setParamDataViaPN(DEVICE_HARDWARE_VER_REG2, 0, CALLBACK_OFF);
  setParamDataViaPN(DEVICE_BOOTLOADER_VER, (uint16_t)TAG[0], CALLBACK_OFF);
  // setParamDataViaPN(DEVICE_SOFTWARE_VER]                = FW_VERSION;
  const uint16_t* UID = (uint16_t*)0x1FFFF7AC;
  setParamDataViaPN(DEVICE_IDCPU_REG1, UID[0], CALLBACK_OFF);
  setParamDataViaPN(DEVICE_IDCPU_REG2, UID[1], CALLBACK_OFF);
  setParamDataViaPN(DEVICE_IDCPU_REG3, UID[2], CALLBACK_OFF);
  setParamDataViaPN(DEVICE_IDCPU_REG4, UID[3], CALLBACK_OFF);
  setParamDataViaPN(DEVICE_IDCPU_REG5, UID[4], CALLBACK_OFF);
  setParamDataViaPN(DEVICE_IDCPU_REG6, UID[5], CALLBACK_OFF);
  setParamDataViaPN(DEVICE_IDCPU_REG7, 0, CALLBACK_OFF);
  setParamDataViaPN(DEVICE_IDCPU_REG8, 0, CALLBACK_OFF);
  setParamDataViaPN(DEVICE_IDCPU_REG9, 0, CALLBACK_OFF);
  setParamDataViaPN(DEVICE_IDCPU_REG10, 0, CALLBACK_OFF);
  setParamDataViaPN(DEVICE_IDENKO_REG1, 0, CALLBACK_OFF);
  setParamDataViaPN(DEVICE_IDENKO_REG2, 0, CALLBACK_OFF);
  setParamDataViaPN(DEVICE_IDENKO_REG3, 0, CALLBACK_OFF);
  setParamDataViaPN(DEVICE_MODEL_NAME_REG1, ('B' << 8) + 'D', CALLBACK_OFF);
  setParamDataViaPN(DEVICE_MODEL_NAME_REG2, ('2' << 8) + 'C', CALLBACK_OFF);
  // setParamDataViaPN(DEVICE_MODEL_NAME_REG3, ('0' << 8) + '4', CALLBACK_OFF);
  setParamDataViaPN(DEVICE_MODEL_NAME_REG3, 0, CALLBACK_OFF);
  setParamDataViaPN(DEVICE_MODEL_NAME_REG4, 0, CALLBACK_OFF);
  setParamDataViaPN(DEVICE_MODEL_NAME_REG5, 0, CALLBACK_OFF);
  setParamDataViaPN(DEVICE_MODEL_NAME_REG6, 0, CALLBACK_OFF);
  setParamDataViaPN(DEVICE_MODEL_NAME_REG7, 0, CALLBACK_OFF);
  setParamDataViaPN(DEVICE_MODEL_NAME_REG8, 0, CALLBACK_OFF);
  setParamDataViaPN(DEVICE_MODEL_NAME_REG9, 0, CALLBACK_OFF);
  setParamDataViaPN(DEVICE_MODEL_NAME_REG10, 0, CALLBACK_OFF);
}

/**
 *@brief callback function for timers.
 *It is used for modbusrun and Led run functionalities.
 */
void HAL_TIM_PeriodElapsedCallback(TIM_HandleTypeDef *htim){
    if (htim->Instance==TIM14){
		//modbus function to respond calls from usb
		//modbusServerSerialRun(&MbServerUsbObj);

/*-----------------------------------------------------------------------------------------------*/
		if(boostPinState != HAL_GPIO_ReadPin(BOOST_INP_GPIO_Port, BOOST_INP_Pin)){
			if(HAL_GPIO_ReadPin(BOOST_INP_GPIO_Port, BOOST_INP_Pin) == GPIO_PIN_RESET){
				boostPinCounter++;
				if(boostPinCounter >= 50){
					if(boostLock == 1) return;
					boostPinCounter = 0;
					boostLock = 1;
					if(mode == S_CHARGER) Charging(MEASURED, boostLock, PT100Comp);
					boostPinState = GPIO_PIN_RESET;
					setParamDataViaPN(OUTPUT_CHARGE_MODE, BOOST, CALLBACK_OFF);
					*getParamDataAdr(MONITORING_IS_BOOST_TRIG) = 1;
				}
			}else{
				boostPinCounter = 0;
				boostLock = 0;
				setParamDataViaPN(OUTPUT_CHARGE_MODE, FLOAT, CALLBACK_OFF);
				*getParamDataAdr(MONITORING_IS_BOOST_TRIG) = 0;
				if(mode == S_CHARGER) Charging(MEASURED, boostLock, PT100Comp);
				boostPinState = GPIO_PIN_SET;
			}
		}
/*-----------------------------------------------------------------------------------------------*/
    }
}

/* USER CODE END 4 */

void Error_Handler(void)
{
  __disable_irq();
  while (1)
  {
  }
}
